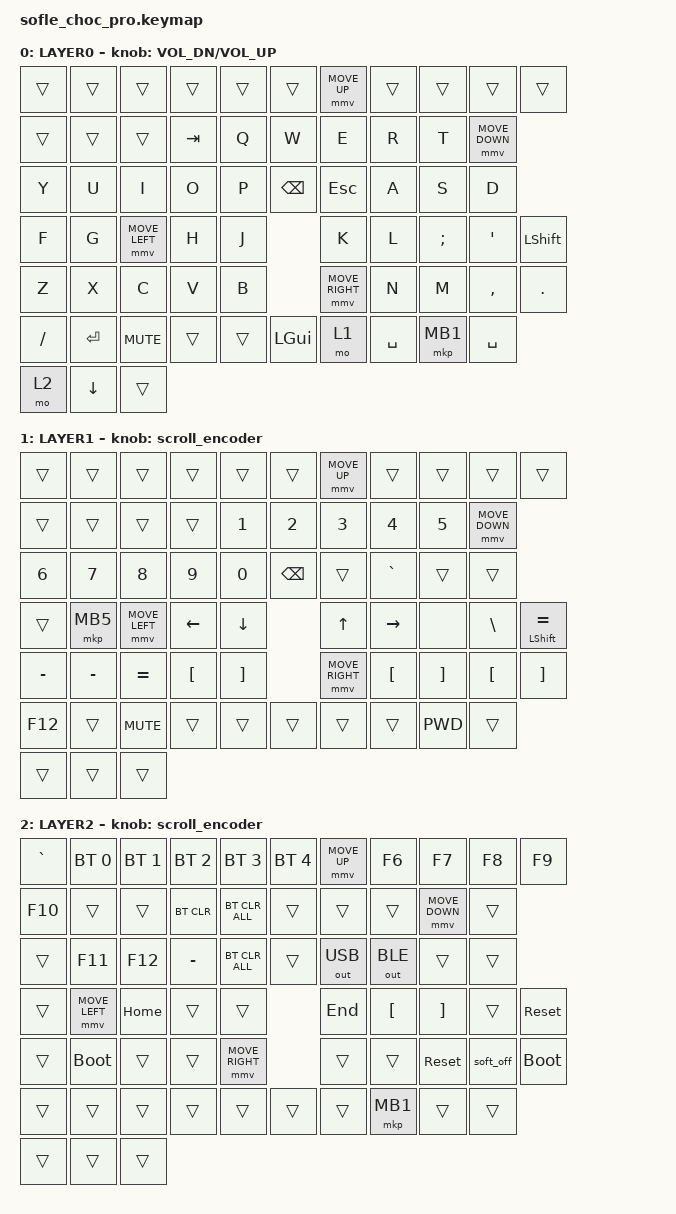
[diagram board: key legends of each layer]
/*
 * Copyright (c) 2020 The ZMK Contributors
 *
 * SPDX-License-Identifier: MIT
 */

#include <behaviors.dtsi>
#include <dt-bindings/zmk/bt.h>
#include <dt-bindings/zmk/keys.h>
#include <dt-bindings/zmk/mouse.h>
#include <dt-bindings/zmk/outputs.h>

#include <input/processors.dtsi>

#define ZMK_MOUSE_DEFAULT_MOVE_VAL 1200
#define ZMK_MOUSE_DEFAULT_SCRL_VAL 20

/ {
    macros {
        /* Placeholder: keep PWD compile-safe without committing secrets. */
        PWD: pwd {
            compatible = "zmk,behavior-macro";
            #binding-cells = <0>;
            bindings = <&none>;
            label = "PWD";
        };
    };

    behaviors {
        mmv {
            acceleration-exponent = <1>;
            time-to-max-speed-ms = <900>;
            delay-ms = <0>;
        };

        msc {
            acceleration-exponent = <1>;
            time-to-max-speed-ms = <400>;
            delay-ms = <0>;
        };
    };

    scroll_encoder: scroll_encoder {
        compatible = "zmk,behavior-sensor-rotate";
        #sensor-binding-cells = <0>;
        bindings = <&msc SCRL_DOWN>, <&msc SCRL_UP>;
        tap-ms = <30>;
    };

    keymap {
        compatible = "zmk,keymap";

        layer0 {
            display-name = "LAYER0";
            bindings = <
&trans     &trans     &trans     &trans     &trans    &trans     &mmv MOVE_UP     &trans    &trans    &trans    &trans
&trans     &trans     &trans     &kp TAB    &kp Q     &kp W      &kp E            &kp R     &kp T     &mmv MOVE_DOWN
&kp Y      &kp U      &kp I      &kp O      &kp P     &kp BSPC   &kp ESC          &kp A     &kp S     &kp D
&kp F      &kp G      &mmv MOVE_LEFT       &kp H      &kp J      &kp K            &kp L     &kp SEMI  &kp SQT  &kp LSHFT
&kp Z      &kp X      &kp C      &kp V      &kp B     &mmv MOVE_RIGHT            &kp N     &kp M     &kp COMMA &kp DOT
&kp FSLH   &kp RET    &kp C_MUTE &trans     &trans    &kp LGUI   &mo 1            &kp SPACE &mkp MB1  &kp SPACE
&mo 2      &kp DOWN   &trans
            >;

            sensor-bindings = <&inc_dec_kp C_VOL_DN C_VOL_UP>;
        };

        layer1 {
            display-name = "LAYER1";
            bindings = <
&trans     &trans     &trans     &trans     &trans    &trans     &mmv MOVE_UP     &trans      &trans      &trans                    &trans
&trans     &trans     &trans     &trans     &kp N1    &kp N2     &kp N3           &kp N4      &kp N5      &mmv MOVE_DOWN
&kp N6     &kp N7     &kp N8     &kp N9     &kp N0    &kp BSPC   &trans           &kp GRAVE   &trans      &trans
&trans     &mkp MB5   &mmv MOVE_LEFT       &kp LEFT   &kp DOWN   &kp UP           &kp RIGHT   &none       &kp BSLH  &mt LSHFT EQUAL
&kp MINUS  &kp MINUS  &kp EQUAL  &kp LBKT   &kp RBKT  &mmv MOVE_RIGHT            &kp LBKT    &kp RBKT    &kp LBKT  &kp RBKT
&kp F12    &trans     &kp C_MUTE &trans     &trans    &trans     &trans           &trans      &PWD        &trans
&trans     &trans     &trans
            >;

            sensor-bindings = <&scroll_encoder>;
        };

        layer2 {
            display-name = "LAYER2";
            bindings = <
&kp GRAVE  &bt BT_SEL 0 &bt BT_SEL 1 &bt BT_SEL 2 &bt BT_SEL 3 &bt BT_SEL 4 &mmv MOVE_UP     &kp F6        &kp F7        &kp F8      &kp F9
&kp F10    &trans       &trans       &bt BT_CLR   &bt BT_CLR_ALL &trans      &trans           &trans        &mmv MOVE_DOWN
&trans     &trans       &kp F11      &kp F12      &kp MINUS     &bt BT_CLR_ALL &trans         &out OUT_USB  &out OUT_BLE  &trans
&trans     &trans       &mmv MOVE_LEFT            &kp HOME      &trans       &trans           &kp END       &kp LBKT      &kp RBKT    &trans
&sys_reset &trans       &bootloader  &trans       &trans        &mmv MOVE_RIGHT               &trans        &trans        &sys_reset   &soft_off
&bootloader &trans      &trans       &trans       &trans        &trans       &trans           &trans        &mkp MB1      &trans
&trans     &trans       &trans       &trans
            >;

            sensor-bindings = <&scroll_encoder>;
        };
    };
};
